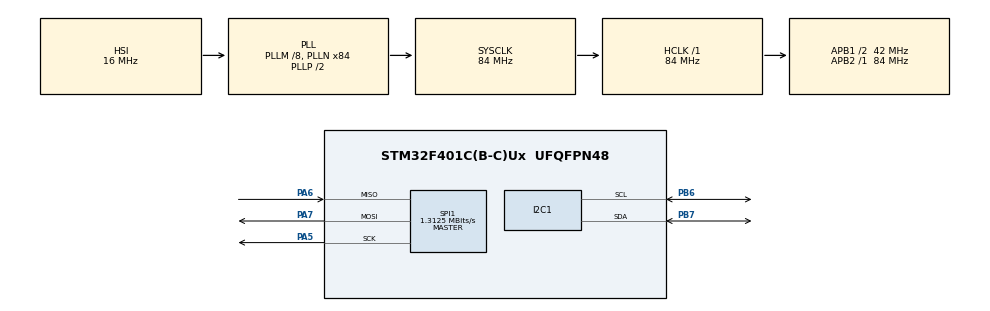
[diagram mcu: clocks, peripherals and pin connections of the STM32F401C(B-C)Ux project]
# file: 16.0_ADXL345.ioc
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Mcu.Family=STM32F4
Mcu.Name=STM32F401C(B-C)Ux
Mcu.Package=UFQFPN48
NVIC.PriorityGroup=NVIC_PRIORITYGROUP_4
PA5.Mode=Full_Duplex_Master
PA5.Signal=SPI1_SCK
PA6.Mode=Full_Duplex_Master
PA6.Signal=SPI1_MISO
PA7.Mode=Full_Duplex_Master
PA7.Signal=SPI1_MOSI
PB6.Mode=I2C
PB6.Signal=I2C1_SCL
PB7.Mode=I2C
PB7.Signal=I2C1_SDA
PH0\ -\ OSC_IN.Mode=HSE-External-Oscillator
PH0\ -\ OSC_IN.Signal=RCC_OSC_IN
PH1\ -\ OSC_OUT.Mode=HSE-External-Oscillator
PH1\ -\ OSC_OUT.Signal=RCC_OSC_OUT
ProjectManager.HeapSize=0x200
ProjectManager.StackSize=0x400
ProjectManager.TargetToolchain=MDK-ARM V5.32
RCC.48MHZClocksFreq_Value=42000000
RCC.AHBFreq_Value=84000000
RCC.APB1CLKDivider=RCC_HCLK_DIV2
RCC.APB1Freq_Value=42000000
RCC.APB1TimFreq_Value=84000000
RCC.APB2Freq_Value=84000000
RCC.APB2TimFreq_Value=84000000
RCC.CortexFreq_Value=84000000
RCC.HCLKFreq_Value=84000000
RCC.HSE_VALUE=25000000
RCC.HSI_VALUE=16000000
RCC.LSE_VALUE=32768
RCC.PLLM=8
RCC.PLLN=84
RCC.SYSCLKFreq_VALUE=84000000
RCC.SYSCLKSource=RCC_SYSCLKSOURCE_PLLCLK
RCC.VCOOutputFreq_Value=168000000
SPI1.BaudRatePrescaler=SPI_BAUDRATEPRESCALER_64
SPI1.CalculateBaudRate=1.3125 MBits/s
SPI1.Direction=SPI_DIRECTION_2LINES
SPI1.Mode=SPI_MODE_MASTER
SPI1.VirtualType=VM_MASTER
board=custom

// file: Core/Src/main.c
/* USER CODE BEGIN Header */
/**
  ******************************************************************************
  * @file           : main.c
  * @brief          : Main program body
  ******************************************************************************
  * @attention
  *
  * Copyright (c) 2024 STMicroelectronics.
  * All rights reserved.
  *
  * This software is licensed under terms that can be found in the LICENSE file
  * in the root directory of this software component.
  * If no LICENSE file comes with this software, it is provided AS-IS.
  *
  ******************************************************************************
  */
/* USER CODE END Header */
#include "main.h"

I2C_HandleTypeDef hi2c1;

SPI_HandleTypeDef hspi1;

/* USER CODE BEGIN PV */
#define adxl_address 0x53<<1
uint8_t data_rec[6];
uint16_t x, y, z;
float xg, yg, zg;
/* USER CODE END PV */

void SystemClock_Config(void);
static void MX_GPIO_Init(void);
static void MX_SPI1_Init(void);
static void MX_I2C1_Init(void);
/* USER CODE BEGIN PFP */
void adxl_write(uint8_t reg, uint8_t value){
	uint8_t data[2];
	data[0] = reg;
	data[1] = value;
	HAL_I2C_Master_Transmit(&hi2c1, adxl_address, data, 2, 100);
}

void adxl_read(uint8_t reg, uint8_t numberofbyte){
	HAL_I2C_Mem_Read(&hi2c1, adxl_address, reg, 1, data_rec, numberofbyte, 100);
}

void adxl_init(void){
	adxl_read(0x00, 1);
	adxl_write(0x2d, 0); //reset all bit
	adxl_write(0x2d, 0x08); // measure bit 1, wakeup 0, 0 at 8Hz

}
/* USER CODE END PFP */

int main(void)
{

  /* MCU Configuration--------------------------------------------------------*/

  /* Reset of all peripherals, Initializes the Flash interface and the Systick. */
  HAL_Init();
	adxl_init();
  /* USER CODE BEGIN Init */
	adxl_read(0x32, 6);
	x = (data_rec[1]<<8) | data_rec[0];
	y = (data_rec[3]<<8) | data_rec[2];
	z = (data_rec[5]<<8) | data_rec[4];
  /* USER CODE END Init */

  /* Configure the system clock */
  SystemClock_Config();

  /* Initialize all configured peripherals */
  MX_GPIO_Init();
  MX_SPI1_Init();
  MX_I2C1_Init();

  /* Infinite loop */
  while (1)
  {

  }
}

void SystemClock_Config(void)
{
  RCC_OscInitTypeDef RCC_OscInitStruct = {0};
  RCC_ClkInitTypeDef RCC_ClkInitStruct = {0};

  /** Configure the main internal regulator output voltage
  */
  __HAL_RCC_PWR_CLK_ENABLE();
  __HAL_PWR_VOLTAGESCALING_CONFIG(PWR_REGULATOR_VOLTAGE_SCALE2);

  /** Initializes the RCC Oscillators according to the specified parameters
  * in the RCC_OscInitTypeDef structure.
  */
  RCC_OscInitStruct.OscillatorType = RCC_OSCILLATORTYPE_HSI;
  RCC_OscInitStruct.HSIState = RCC_HSI_ON;
  RCC_OscInitStruct.HSICalibrationValue = RCC_HSICALIBRATION_DEFAULT;
  RCC_OscInitStruct.PLL.PLLState = RCC_PLL_ON;
  RCC_OscInitStruct.PLL.PLLSource = RCC_PLLSOURCE_HSI;
  RCC_OscInitStruct.PLL.PLLM = 8;
  RCC_OscInitStruct.PLL.PLLN = 84;
  RCC_OscInitStruct.PLL.PLLP = RCC_PLLP_DIV2;
  RCC_OscInitStruct.PLL.PLLQ = 4;
  if (HAL_RCC_OscConfig(&RCC_OscInitStruct) != HAL_OK)
  {
    Error_Handler();
  }

  /** Initializes the CPU, AHB and APB buses clocks
  */
  RCC_ClkInitStruct.ClockType = RCC_CLOCKTYPE_HCLK|RCC_CLOCKTYPE_SYSCLK
                              |RCC_CLOCKTYPE_PCLK1|RCC_CLOCKTYPE_PCLK2;
  RCC_ClkInitStruct.SYSCLKSource = RCC_SYSCLKSOURCE_PLLCLK;
  RCC_ClkInitStruct.AHBCLKDivider = RCC_SYSCLK_DIV1;
  RCC_ClkInitStruct.APB1CLKDivider = RCC_HCLK_DIV2;
  RCC_ClkInitStruct.APB2CLKDivider = RCC_HCLK_DIV1;

  if (HAL_RCC_ClockConfig(&RCC_ClkInitStruct, FLASH_LATENCY_2) != HAL_OK)
  {
    Error_Handler();
  }
}

static void MX_I2C1_Init(void)
{

  hi2c1.Instance = I2C1;
  hi2c1.Init.ClockSpeed = 100000;
  hi2c1.Init.DutyCycle = I2C_DUTYCYCLE_2;
  hi2c1.Init.OwnAddress1 = 0;
  hi2c1.Init.AddressingMode = I2C_ADDRESSINGMODE_7BIT;
  hi2c1.Init.DualAddressMode = I2C_DUALADDRESS_DISABLE;
  hi2c1.Init.OwnAddress2 = 0;
  hi2c1.Init.GeneralCallMode = I2C_GENERALCALL_DISABLE;
  hi2c1.Init.NoStretchMode = I2C_NOSTRETCH_DISABLE;
  if (HAL_I2C_Init(&hi2c1) != HAL_OK)
  {
    Error_Handler();
  }

}

static void MX_SPI1_Init(void)
{

  /* SPI1 parameter configuration*/
  hspi1.Instance = SPI1;
  hspi1.Init.Mode = SPI_MODE_MASTER;
  hspi1.Init.Direction = SPI_DIRECTION_2LINES;
  hspi1.Init.DataSize = SPI_DATASIZE_8BIT;
  hspi1.Init.CLKPolarity = SPI_POLARITY_LOW;
  hspi1.Init.CLKPhase = SPI_PHASE_1EDGE;
  hspi1.Init.NSS = SPI_NSS_SOFT;
  hspi1.Init.BaudRatePrescaler = SPI_BAUDRATEPRESCALER_64;
  hspi1.Init.FirstBit = SPI_FIRSTBIT_MSB;
  hspi1.Init.TIMode = SPI_TIMODE_DISABLE;
  hspi1.Init.CRCCalculation = SPI_CRCCALCULATION_DISABLE;
  hspi1.Init.CRCPolynomial = 10;
  if (HAL_SPI_Init(&hspi1) != HAL_OK)
  {
    Error_Handler();
  }

}

static void MX_GPIO_Init(void)
{

  /* GPIO Ports Clock Enable */
  __HAL_RCC_GPIOH_CLK_ENABLE();
  __HAL_RCC_GPIOA_CLK_ENABLE();
  __HAL_RCC_GPIOB_CLK_ENABLE();

}

void Error_Handler(void)
{
  __disable_irq();
  while (1)
  {
  }
}
